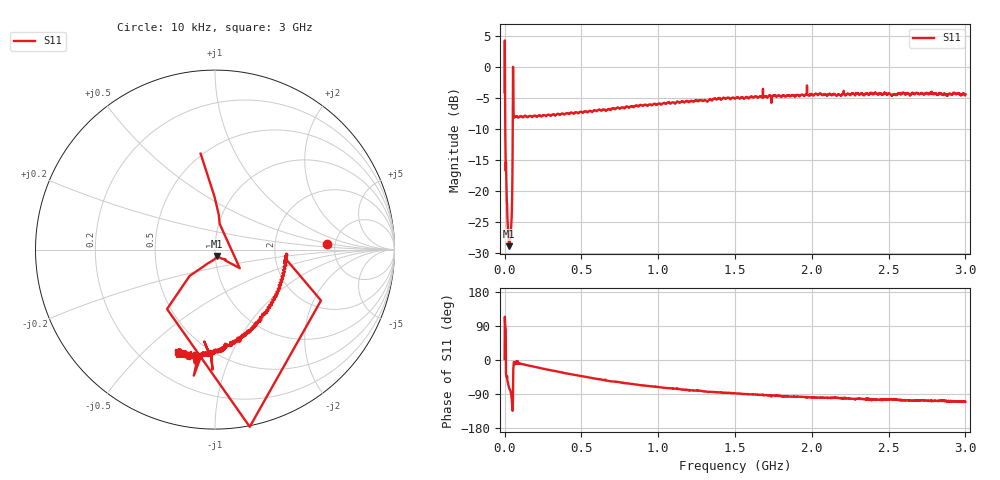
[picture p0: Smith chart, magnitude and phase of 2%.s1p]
# HZ S RI R 50
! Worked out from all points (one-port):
!   2020 points, 10 kHz to 3 GHz, reference 50 ohm
!   lowest |S11| = -28.8 dB at 29.73 MHz (marker M1), VSWR 1.08, Z = 50.8 - j3.56 ohm
!   |S11| at or under -10 dB: 4.306 MHz to 52.91 MHz (48.6 MHz wide, 170 % of centre)
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10000  0.6267 0.0301
7439395  0.0259 0.1437
1.635467e7  0.0586 -0.0542
1.784055e7  0.038 -0.0505
2.081231e7  0.0268 -0.0447
2.526994e7  0.0161 -0.039
2.972758e7  0.00928 -0.035
3.418522e7  0.00852 -0.0388
3.715698e7  0.00702 -0.0424
3.864285e7  0.00585 -0.0444
4.012873e7  0.00373 -0.047
4.161461e7  0.00223 -0.0494
5.64734e7  0.5905 -0.2837
6.39028e7  0.3924 -0.0423
6.836043e7  0.3886 -0.0769
6.984631e7  0.3978 -0.0425
7.133219e7  0.399 -0.0372
7.578983e7  0.4015 -0.0264
3.759374e8  0.3538 -0.2315
7.503789e8  0.239 -0.3957
1.126306e9  0.1238 -0.5113
1.500748e9  0.0216 -0.5566
1.875189e9  -0.0686 -0.5923
2.251117e9  -0.1201 -0.5808
2.407134e9  -0.1531 -0.5927
2.521547e9  -0.1366 -0.574
2.625558e9  -0.1648 -0.5863
3e9  -0.2079 -0.5687
